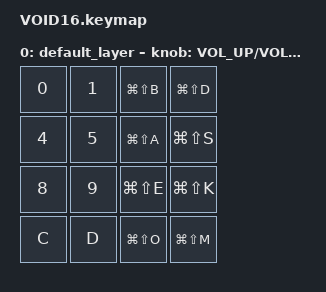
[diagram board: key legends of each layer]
#include <behaviors.dtsi>
#include <dt-bindings/zmk/keys.h>




/ {
    keymap {
        compatible = "zmk,keymap";

        default_layer {
// -----------------------------------------
// |   0   |    1    |    LGUI+LSHIFT+B    |    LGUI+LSHIFT+D    | 
// |   4   |    5    |    LGUI+LSHIFT+A    |    LGUI+LSHIFT+S    |
// |   8   |    9    |    LGUI+LSHIFT+E    |    LGUI+LSHIFT+K    |
// |   C   |    D    |    LGUI+LSHIFT+O    |    LGUI+LSHIFT+M    |
            bindings = <
    &kp N0  &kp N1  &kp LG(LS(B))   &kp LG(LS(D))
    &kp N4  &kp N5  &kp LG(LS(A))   &kp LG(LS(S))
    &kp N8  &kp N9  &kp LG(LS(E))   &kp LG(LS(K))
    &kp C   &kp D   &kp LG(LS(O))   &kp LG(LS(M))
            >;
            sensor-bindings = <&inc_dec_kp C_VOL_UP C_VOL_DN>;
        };
    };
};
